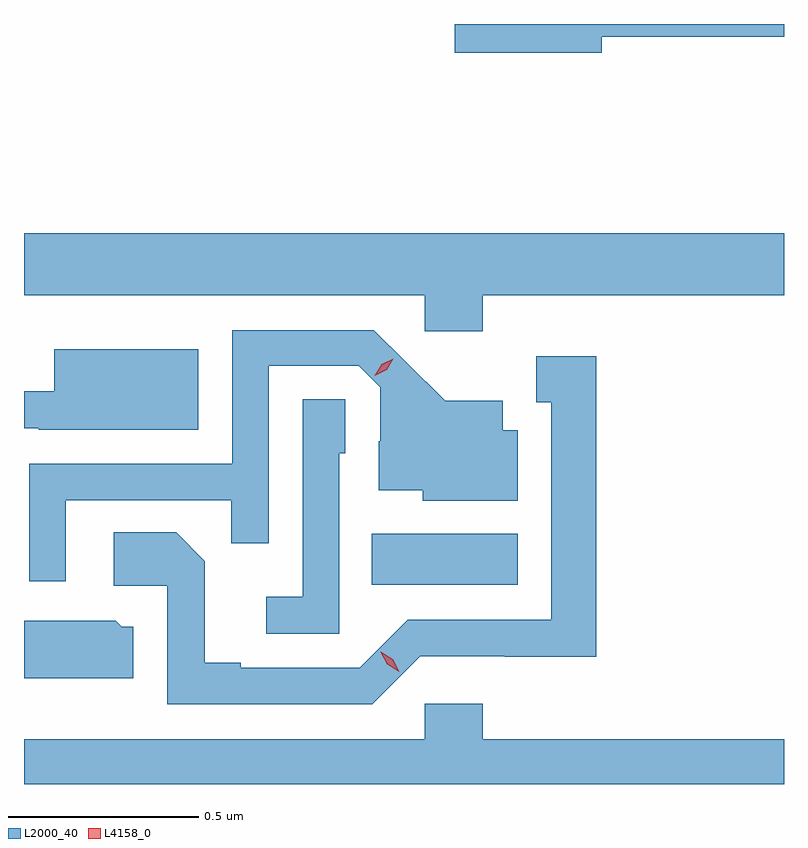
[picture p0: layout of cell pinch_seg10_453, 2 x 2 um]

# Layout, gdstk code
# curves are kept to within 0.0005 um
import gdstk
lib = gdstk.Library(unit=1e-6, precision=1e-09)
def R(c, l, rs):  # rectangles x0, y0, x1, y1
    for r in rs: c.add(gdstk.rectangle(r[:2], r[2:], *l))
def P(c, l, *ps):  # polygons
    for p in ps: c.add(gdstk.Polygon(p, *l))
L2000_40 = (2000, 40)
L4158_0 = (4158, 0)

pinch_seg10_453 = lib.new_cell('pinch_seg10_453')
R(pinch_seg10_453, L2000_40, [(366.028,1294.226,366.412,1294.36)])
P(pinch_seg10_453, L2000_40, [(366.634,1295.668),(367.113,1295.668),(367.113,1295.702),(366.246,1295.702),(366.246,1295.626),(366.634,1295.626)],
  [(366.32,1294.988),(367.113,1294.988),(367.113,1295.152),(365.113,1295.152),(365.113,1294.988),(366.168,1294.988),(366.168,1294.893),(366.32,1294.893)],
  [(365.223,1294.449),(365.659,1294.449),(365.659,1294.336),(365.757,1294.336),(365.757,1294.803),(365.994,1294.803),(366.051,1294.746),(366.051,1294.604),(366.047,1294.604),(366.047,1294.475),(366.162,1294.475),(366.162,1294.448),(366.412,1294.448),(366.412,1294.633),(366.373,1294.633),(366.373,1294.711),(366.221,1294.711),(366.034,1294.896),(365.661,1294.896),(365.661,1294.545),(365.127,1294.545),(365.127,1294.236),(365.223,1294.236)],
  [(365.572,1294.846),(365.192,1294.846),(365.192,1294.735),(365.113,1294.735),(365.113,1294.638),(365.152,1294.638),(365.152,1294.634),(365.572,1294.634)],
  [(366.156,1294.038),(366.378,1294.038),(366.378,1294.037),(366.619,1294.037),(366.619,1294.828),(366.461,1294.828),(366.461,1294.707),(366.5,1294.707),(366.5,1294.134),(366.123,1294.134),(365.997,1294.008),(365.683,1294.008),(365.683,1294.021),(365.589,1294.021),(365.589,1294.288),(365.513,1294.364),(365.349,1294.364),(365.349,1294.224),(365.49,1294.224),(365.49,1293.912),(366.03,1293.912)],
  [(365.943,1294.572),(365.958,1294.572),(365.958,1294.715),(365.847,1294.715),(365.847,1294.195),(365.751,1294.195),(365.751,1294.098),(365.943,1294.098)],
  [(365.401,1294.116),(365.37,1294.116),(365.354,1294.132),(365.22,1294.132),(365.22,1294.131),(365.113,1294.131),(365.113,1293.98),(365.401,1293.98)],
  [(367.113,1293.82),(366.32,1293.82),(366.32,1293.913),(366.168,1293.913),(366.168,1293.82),(365.113,1293.82),(365.113,1293.702),(367.113,1293.702)])
P(pinch_seg10_453, L4158_0, [(366.101,1293.998),(366.069,1294.017),(366.052,1294.049),(366.052,1294.05),(366.052,1294.05),(366.084,1294.03),(366.101,1293.998),(366.101,1293.998)],
  [(366.036,1294.777),(366.036,1294.777),(366.054,1294.807),(366.085,1294.821),(366.085,1294.821),(366.085,1294.821),(366.067,1294.792),(366.036,1294.777)])

lib.write_gds('pinch_seg10_453.gds')
